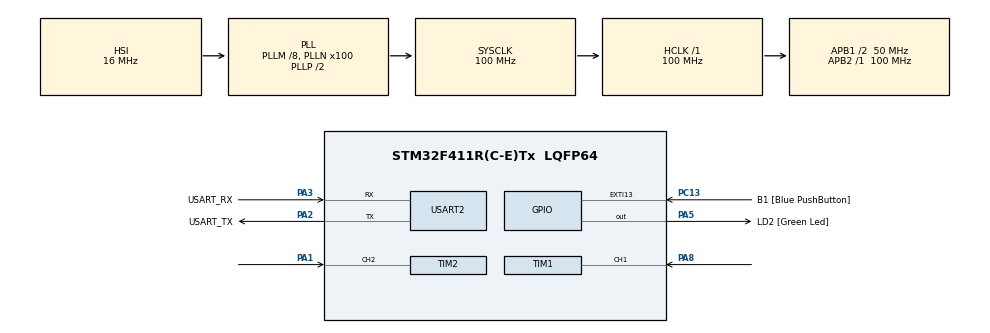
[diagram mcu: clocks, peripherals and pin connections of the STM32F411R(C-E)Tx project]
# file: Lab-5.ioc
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Dma.Request0=TIM1_CH1
Dma.Request1=TIM2_CH2/CH4
Dma.TIM1_CH1.0.Direction=DMA_PERIPH_TO_MEMORY
Dma.TIM1_CH1.0.FIFOMode=DMA_FIFOMODE_DISABLE
Dma.TIM1_CH1.0.Instance=DMA2_Stream1
Dma.TIM1_CH1.0.MemDataAlignment=DMA_MDATAALIGN_HALFWORD
Dma.TIM1_CH1.0.MemInc=DMA_MINC_ENABLE
Dma.TIM1_CH1.0.Mode=DMA_CIRCULAR
Dma.TIM1_CH1.0.PeriphDataAlignment=DMA_PDATAALIGN_HALFWORD
Dma.TIM1_CH1.0.PeriphInc=DMA_PINC_DISABLE
Dma.TIM1_CH1.0.Priority=DMA_PRIORITY_LOW
Dma.TIM2_CH2/CH4.1.Direction=DMA_PERIPH_TO_MEMORY
Dma.TIM2_CH2/CH4.1.FIFOMode=DMA_FIFOMODE_DISABLE
Dma.TIM2_CH2/CH4.1.Instance=DMA1_Stream6
Dma.TIM2_CH2/CH4.1.MemDataAlignment=DMA_MDATAALIGN_WORD
Dma.TIM2_CH2/CH4.1.MemInc=DMA_MINC_ENABLE
Dma.TIM2_CH2/CH4.1.Mode=DMA_CIRCULAR
Dma.TIM2_CH2/CH4.1.PeriphDataAlignment=DMA_PDATAALIGN_WORD
Dma.TIM2_CH2/CH4.1.PeriphInc=DMA_PINC_DISABLE
Dma.TIM2_CH2/CH4.1.Priority=DMA_PRIORITY_LOW
Mcu.Family=STM32F4
Mcu.Name=STM32F411R(C-E)Tx
Mcu.Package=LQFP64
NVIC.DMA1_Stream6_IRQn=true\:0\:0\:false\:false\:true\:false\:true
NVIC.DMA2_Stream1_IRQn=true\:0\:0\:false\:false\:true\:false\:true
NVIC.PriorityGroup=NVIC_PRIORITYGROUP_0
NVIC.TIM1_CC_IRQn=true\:0\:0\:false\:false\:true\:true\:true
NVIC.TIM1_TRG_COM_TIM11_IRQn=true\:0\:0\:false\:false\:true\:true\:true
NVIC.TIM2_IRQn=true\:0\:0\:false\:false\:true\:true\:true
NVIC.TIM5_IRQn=true\:0\:0\:false\:false\:true\:true\:true
PA1.Signal=S_TIM2_CH2
PA13.GPIO_Label=TMS
PA13.Mode=Serial_Wire
PA13.Signal=SYS_JTMS-SWDIO
PA14.GPIO_Label=TCK
PA14.Mode=Serial_Wire
PA14.Signal=SYS_JTCK-SWCLK
PA2.GPIO_Label=USART_TX
PA2.Mode=Asynchronous
PA2.Signal=USART2_TX
PA3.GPIO_Label=USART_RX
PA3.Mode=Asynchronous
PA3.Signal=USART2_RX
PA5.GPIO_Label=LD2 [Green Led]
PA5.Signal=GPIO_Output
PA8.Signal=S_TIM1_CH1
PB3.GPIO_Label=SWO
PB3.Signal=SYS_JTDO-SWO
PC13-ANTI_TAMP.GPIO_Label=B1 [Blue PushButton]
PC13-ANTI_TAMP.GPIO_ModeDefaultEXTI=GPIO_MODE_IT_FALLING
PC13-ANTI_TAMP.Signal=GPXTI13
PC14-OSC32_IN.Mode=LSE-External-Oscillator
PC14-OSC32_IN.Signal=RCC_OSC32_IN
PC15-OSC32_OUT.Mode=LSE-External-Oscillator
PC15-OSC32_OUT.Signal=RCC_OSC32_OUT
PH0\ -\ OSC_IN.Mode=HSE-External-Clock-Source
PH0\ -\ OSC_IN.Signal=RCC_OSC_IN
PH1\ -\ OSC_OUT.Mode=HSE-External-Clock-Source
PH1\ -\ OSC_OUT.Signal=RCC_OSC_OUT
ProjectManager.HeapSize=0x200
ProjectManager.StackSize=0x400
ProjectManager.TargetToolchain=STM32CubeIDE
RCC.48MHZClocksFreq_Value=50000000
RCC.AHBFreq_Value=100000000
RCC.APB1CLKDivider=RCC_HCLK_DIV2
RCC.APB1Freq_Value=50000000
RCC.APB1TimFreq_Value=100000000
RCC.APB2Freq_Value=100000000
RCC.APB2TimFreq_Value=100000000
RCC.CortexFreq_Value=100000000
RCC.FLatency-AdvancedSettings=FLASH_LATENCY_3
RCC.HCLKFreq_Value=100000000
RCC.HSE_VALUE=8000000
RCC.HSI_VALUE=16000000
RCC.PLLM=8
RCC.PLLN=100
RCC.SYSCLKFreq_VALUE=100000000
RCC.SYSCLKSource=RCC_SYSCLKSOURCE_PLLCLK
RCC.VCOOutputFreq_Value=200000000
SH.S_TIM1_CH1.0=TIM1_CH1,Input_Capture1_from_TI1
SH.S_TIM2_CH2.0=TIM2_CH2,Input_Capture2_from_TI2
TIM1.Channel-Input_Capture1_from_TI1=TIM_CHANNEL_1
TIM1.ICFilter_CH1=2
TIM1.Prescaler=99
TIM11.Prescaler=99
TIM2.Channel-Input_Capture2_from_TI2=TIM_CHANNEL_2
TIM2.ICFilter_CH2=2
TIM2.Period=4294967295
TIM2.Prescaler=99
TIM5.Period=65535
TIM5.Prescaler=99
USART2.VirtualMode=VM_ASYNC
VP_TIM11_VS_ClockSourceINT.Mode=Enable_Timer
VP_TIM1_VS_ClockSourceINT.Mode=Internal
VP_TIM2_VS_ClockSourceINT.Mode=Internal
VP_TIM5_VS_ClockSourceINT.Mode=Internal
board=NUCLEO-F411RE

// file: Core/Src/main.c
/* USER CODE BEGIN Header */
/**
  ******************************************************************************
  * @file           : main.c
  * @brief          : Main program body
  ******************************************************************************
  * @attention
  *
  * <h2><center>&copy; Copyright (c) 2021 STMicroelectronics.
  * All rights reserved.</center></h2>
  *
  * This software component is licensed by ST under BSD 3-Clause license,
  * the "License"; You may not use this file except in compliance with the
  * License. You may obtain a copy of the License at:
  *                        opensource.org/licenses/BSD-3-Clause
  *
  ******************************************************************************
  */
/* USER CODE END Header */
#include "main.h"

/* USER CODE BEGIN PD */
#define CAPTURENUM 16
/* USER CODE END PD */

TIM_HandleTypeDef htim1;
TIM_HandleTypeDef htim2;
TIM_HandleTypeDef htim5;
TIM_HandleTypeDef htim11;
DMA_HandleTypeDef hdma_tim1_ch1;
DMA_HandleTypeDef hdma_tim2_ch2_ch4;

UART_HandleTypeDef huart2;

/* USER CODE BEGIN PV */
uint64_t _micros = 0;
uint32_t capturedata[CAPTURENUM] = {0};
int32_t  DiffTime[CAPTURENUM-1]  = {0};
float    MeanTime = 0;
float    Speed    = 0;

/* USER CODE END PV */

void SystemClock_Config(void);
static void MX_GPIO_Init(void);
static void MX_DMA_Init(void);
static void MX_USART2_UART_Init(void);
static void MX_TIM11_Init(void);
static void MX_TIM2_Init(void);
static void MX_TIM5_Init(void);
static void MX_TIM1_Init(void);
/* USER CODE BEGIN PFP */
void encoderSpeedReaderCycle();
uint64_t micros();

/* USER CODE END PFP */

int main(void)
{

  /* MCU Configuration--------------------------------------------------------*/

  /* Reset of all peripherals, Initializes the Flash interface and the Systick. */
  HAL_Init();

  /* Configure the system clock */
  SystemClock_Config();

  /* Initialize all configured peripherals */
  MX_GPIO_Init();
  MX_DMA_Init();
  MX_USART2_UART_Init();
  MX_TIM11_Init();
  MX_TIM2_Init();
  MX_TIM5_Init();
  MX_TIM1_Init();
  /* USER CODE BEGIN 2 */
  HAL_TIM_Base_Start_IT(&htim1);
  HAL_TIM_Base_Start_IT(&htim2);
  HAL_TIM_Base_Start_IT(&htim5);
  HAL_TIM_Base_Start_IT(&htim11);
//  HAL_TIM_IC_Start_DMA(&htim1, TIM_CHANNEL_1, (uint32_t*)capturedata, CAPTURENUM);
  HAL_TIM_IC_Start_DMA(&htim2, TIM_CHANNEL_2, capturedata, CAPTURENUM);
  uint64_t timeStamp = 0;

  /* USER CODE END 2 */

  /* Infinite loop */
  /* USER CODE BEGIN WHILE */
  while (1)
  {
	  if( micros()-timeStamp > 100000 ) //5 Hz = 0.2s per Period = 0.1s per halfPeriod
	  {
		  timeStamp = micros();
		  HAL_GPIO_TogglePin(LD2_GPIO_Port,LD2_Pin);
	  }

	  encoderSpeedReaderCycle();

	  Speed = 60*1000000 / (12*64*MeanTime);

    /* USER CODE END WHILE */

  }
}

void SystemClock_Config(void)
{
  RCC_OscInitTypeDef RCC_OscInitStruct = {0};
  RCC_ClkInitTypeDef RCC_ClkInitStruct = {0};

  /** Configure the main internal regulator output voltage
  */
  __HAL_RCC_PWR_CLK_ENABLE();
  __HAL_PWR_VOLTAGESCALING_CONFIG(PWR_REGULATOR_VOLTAGE_SCALE1);
  /** Initializes the RCC Oscillators according to the specified parameters
  * in the RCC_OscInitTypeDef structure.
  */
  RCC_OscInitStruct.OscillatorType = RCC_OSCILLATORTYPE_HSI;
  RCC_OscInitStruct.HSIState = RCC_HSI_ON;
  RCC_OscInitStruct.HSICalibrationValue = RCC_HSICALIBRATION_DEFAULT;
  RCC_OscInitStruct.PLL.PLLState = RCC_PLL_ON;
  RCC_OscInitStruct.PLL.PLLSource = RCC_PLLSOURCE_HSI;
  RCC_OscInitStruct.PLL.PLLM = 8;
  RCC_OscInitStruct.PLL.PLLN = 100;
  RCC_OscInitStruct.PLL.PLLP = RCC_PLLP_DIV2;
  RCC_OscInitStruct.PLL.PLLQ = 4;
  if (HAL_RCC_OscConfig(&RCC_OscInitStruct) != HAL_OK)
  {
    Error_Handler();
  }
  /** Initializes the CPU, AHB and APB buses clocks
  */
  RCC_ClkInitStruct.ClockType = RCC_CLOCKTYPE_HCLK|RCC_CLOCKTYPE_SYSCLK
                              |RCC_CLOCKTYPE_PCLK1|RCC_CLOCKTYPE_PCLK2;
  RCC_ClkInitStruct.SYSCLKSource = RCC_SYSCLKSOURCE_PLLCLK;
  RCC_ClkInitStruct.AHBCLKDivider = RCC_SYSCLK_DIV1;
  RCC_ClkInitStruct.APB1CLKDivider = RCC_HCLK_DIV2;
  RCC_ClkInitStruct.APB2CLKDivider = RCC_HCLK_DIV1;

  if (HAL_RCC_ClockConfig(&RCC_ClkInitStruct, FLASH_LATENCY_3) != HAL_OK)
  {
    Error_Handler();
  }
}

static void MX_TIM1_Init(void)
{

  TIM_ClockConfigTypeDef sClockSourceConfig = {0};
  TIM_MasterConfigTypeDef sMasterConfig = {0};
  TIM_IC_InitTypeDef sConfigIC = {0};

  htim1.Instance = TIM1;
  htim1.Init.Prescaler = 99;
  htim1.Init.CounterMode = TIM_COUNTERMODE_UP;
  htim1.Init.Period = 65535;
  htim1.Init.ClockDivision = TIM_CLOCKDIVISION_DIV1;
  htim1.Init.RepetitionCounter = 0;
  htim1.Init.AutoReloadPreload = TIM_AUTORELOAD_PRELOAD_DISABLE;
  if (HAL_TIM_Base_Init(&htim1) != HAL_OK)
  {
    Error_Handler();
  }
  sClockSourceConfig.ClockSource = TIM_CLOCKSOURCE_INTERNAL;
  if (HAL_TIM_ConfigClockSource(&htim1, &sClockSourceConfig) != HAL_OK)
  {
    Error_Handler();
  }
  if (HAL_TIM_IC_Init(&htim1) != HAL_OK)
  {
    Error_Handler();
  }
  sMasterConfig.MasterOutputTrigger = TIM_TRGO_RESET;
  sMasterConfig.MasterSlaveMode = TIM_MASTERSLAVEMODE_DISABLE;
  if (HAL_TIMEx_MasterConfigSynchronization(&htim1, &sMasterConfig) != HAL_OK)
  {
    Error_Handler();
  }
  sConfigIC.ICPolarity = TIM_INPUTCHANNELPOLARITY_RISING;
  sConfigIC.ICSelection = TIM_ICSELECTION_DIRECTTI;
  sConfigIC.ICPrescaler = TIM_ICPSC_DIV1;
  sConfigIC.ICFilter = 2;
  if (HAL_TIM_IC_ConfigChannel(&htim1, &sConfigIC, TIM_CHANNEL_1) != HAL_OK)
  {
    Error_Handler();
  }

}

static void MX_TIM2_Init(void)
{

  TIM_ClockConfigTypeDef sClockSourceConfig = {0};
  TIM_MasterConfigTypeDef sMasterConfig = {0};
  TIM_IC_InitTypeDef sConfigIC = {0};

  htim2.Instance = TIM2;
  htim2.Init.Prescaler = 99;
  htim2.Init.CounterMode = TIM_COUNTERMODE_UP;
  htim2.Init.Period = 4294967295;
  htim2.Init.ClockDivision = TIM_CLOCKDIVISION_DIV1;
  htim2.Init.AutoReloadPreload = TIM_AUTORELOAD_PRELOAD_DISABLE;
  if (HAL_TIM_Base_Init(&htim2) != HAL_OK)
  {
    Error_Handler();
  }
  sClockSourceConfig.ClockSource = TIM_CLOCKSOURCE_INTERNAL;
  if (HAL_TIM_ConfigClockSource(&htim2, &sClockSourceConfig) != HAL_OK)
  {
    Error_Handler();
  }
  if (HAL_TIM_IC_Init(&htim2) != HAL_OK)
  {
    Error_Handler();
  }
  sMasterConfig.MasterOutputTrigger = TIM_TRGO_RESET;
  sMasterConfig.MasterSlaveMode = TIM_MASTERSLAVEMODE_DISABLE;
  if (HAL_TIMEx_MasterConfigSynchronization(&htim2, &sMasterConfig) != HAL_OK)
  {
    Error_Handler();
  }
  sConfigIC.ICPolarity = TIM_INPUTCHANNELPOLARITY_RISING;
  sConfigIC.ICSelection = TIM_ICSELECTION_DIRECTTI;
  sConfigIC.ICPrescaler = TIM_ICPSC_DIV1;
  sConfigIC.ICFilter = 2;
  if (HAL_TIM_IC_ConfigChannel(&htim2, &sConfigIC, TIM_CHANNEL_2) != HAL_OK)
  {
    Error_Handler();
  }

}

static void MX_TIM5_Init(void)
{

  TIM_ClockConfigTypeDef sClockSourceConfig = {0};
  TIM_MasterConfigTypeDef sMasterConfig = {0};

  htim5.Instance = TIM5;
  htim5.Init.Prescaler = 99;
  htim5.Init.CounterMode = TIM_COUNTERMODE_UP;
  htim5.Init.Period = 65535;
  htim5.Init.ClockDivision = TIM_CLOCKDIVISION_DIV1;
  htim5.Init.AutoReloadPreload = TIM_AUTORELOAD_PRELOAD_DISABLE;
  if (HAL_TIM_Base_Init(&htim5) != HAL_OK)
  {
    Error_Handler();
  }
  sClockSourceConfig.ClockSource = TIM_CLOCKSOURCE_INTERNAL;
  if (HAL_TIM_ConfigClockSource(&htim5, &sClockSourceConfig) != HAL_OK)
  {
    Error_Handler();
  }
  sMasterConfig.MasterOutputTrigger = TIM_TRGO_RESET;
  sMasterConfig.MasterSlaveMode = TIM_MASTERSLAVEMODE_DISABLE;
  if (HAL_TIMEx_MasterConfigSynchronization(&htim5, &sMasterConfig) != HAL_OK)
  {
    Error_Handler();
  }

}

static void MX_TIM11_Init(void)
{

  htim11.Instance = TIM11;
  htim11.Init.Prescaler = 99;
  htim11.Init.CounterMode = TIM_COUNTERMODE_UP;
  htim11.Init.Period = 65535;
  htim11.Init.ClockDivision = TIM_CLOCKDIVISION_DIV1;
  htim11.Init.AutoReloadPreload = TIM_AUTORELOAD_PRELOAD_DISABLE;
  if (HAL_TIM_Base_Init(&htim11) != HAL_OK)
  {
    Error_Handler();
  }

}

static void MX_USART2_UART_Init(void)
{

  huart2.Instance = USART2;
  huart2.Init.BaudRate = 115200;
  huart2.Init.WordLength = UART_WORDLENGTH_8B;
  huart2.Init.StopBits = UART_STOPBITS_1;
  huart2.Init.Parity = UART_PARITY_NONE;
  huart2.Init.Mode = UART_MODE_TX_RX;
  huart2.Init.HwFlowCtl = UART_HWCONTROL_NONE;
  huart2.Init.OverSampling = UART_OVERSAMPLING_16;
  if (HAL_UART_Init(&huart2) != HAL_OK)
  {
    Error_Handler();
  }

}

static void MX_DMA_Init(void)
{

  /* DMA controller clock enable */
  __HAL_RCC_DMA2_CLK_ENABLE();
  __HAL_RCC_DMA1_CLK_ENABLE();

  /* DMA interrupt init */
  /* DMA1_Stream6_IRQn interrupt configuration */
  HAL_NVIC_SetPriority(DMA1_Stream6_IRQn, 0, 0);
  HAL_NVIC_EnableIRQ(DMA1_Stream6_IRQn);
  /* DMA2_Stream1_IRQn interrupt configuration */
  HAL_NVIC_SetPriority(DMA2_Stream1_IRQn, 0, 0);
  HAL_NVIC_EnableIRQ(DMA2_Stream1_IRQn);

}

static void MX_GPIO_Init(void)
{
  GPIO_InitTypeDef GPIO_InitStruct = {0};

  /* GPIO Ports Clock Enable */
  __HAL_RCC_GPIOC_CLK_ENABLE();
  __HAL_RCC_GPIOH_CLK_ENABLE();
  __HAL_RCC_GPIOA_CLK_ENABLE();
  __HAL_RCC_GPIOB_CLK_ENABLE();

  /*Configure GPIO pin Output Level */
  HAL_GPIO_WritePin(LD2_GPIO_Port, LD2_Pin, GPIO_PIN_RESET);

  /*Configure GPIO pin : B1_Pin */
  GPIO_InitStruct.Pin = B1_Pin;
  GPIO_InitStruct.Mode = GPIO_MODE_IT_FALLING;
  GPIO_InitStruct.Pull = GPIO_NOPULL;
  HAL_GPIO_Init(B1_GPIO_Port, &GPIO_InitStruct);

  /*Configure GPIO pin : LD2_Pin */
  GPIO_InitStruct.Pin = LD2_Pin;
  GPIO_InitStruct.Mode = GPIO_MODE_OUTPUT_PP;
  GPIO_InitStruct.Pull = GPIO_NOPULL;
  GPIO_InitStruct.Speed = GPIO_SPEED_FREQ_LOW;
  HAL_GPIO_Init(LD2_GPIO_Port, &GPIO_InitStruct);

}

/* USER CODE BEGIN 4 */

uint64_t micros()
{
	return _micros + htim5.Instance->CNT;
}

//Overflow Interrupt
void HAL_TIM_PeriodElapsedCallback(TIM_HandleTypeDef *htim)
{
	if(htim == &htim5)
	{
		_micros += 65535;
	}
}

void encoderSpeedReaderCycle()
{
	//get DMA Position
	uint32_t CapPos = CAPTURENUM - __HAL_DMA_GET_COUNTER(htim2.hdma[TIM_DMA_ID_CC2]);
	uint32_t sum = 0;

	//calculate diff from all buffer
	for(register int i = 0; i<CAPTURENUM-1; i++)
	{
		DiffTime[i] = capturedata[(CapPos+1+i)%CAPTURENUM] - capturedata[(CapPos+i)%CAPTURENUM];
		//in case of overflow timer
		if(DiffTime[i] < 0)
		{
			DiffTime[i] += 4294967295;
		}

		//sum all 15 diff
		sum += DiffTime[i];
	}
	MeanTime = sum/ (float)(CAPTURENUM-1);
}

/* USER CODE END 4 */

void Error_Handler(void)
{
  __disable_irq();
  while (1)
  {
  }
}

/************************ (C) COPYRIGHT STMicroelectronics *****END OF FILE****/
